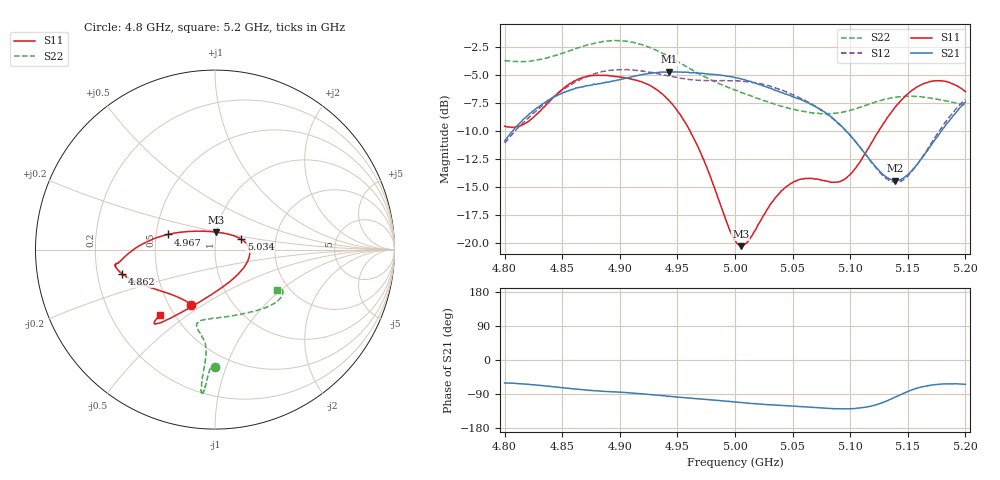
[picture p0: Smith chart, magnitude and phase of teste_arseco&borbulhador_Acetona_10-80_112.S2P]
! Network Analyzer HP8722D
! Hewlett-Packard
! Data name: Linha & Wilkinson
! Saver's name: Rodrigo Anjos
! Comments: Teste da utilização de aquisição
! continua pelo VNA HP8722D
! Time and date: 17/4/2025 15:17
!  Frequency  S11  S21  S12  S22
# HZ  S  MA R 50
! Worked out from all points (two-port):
!   401 points, 4.8 GHz to 5.2 GHz, reference 50 ohm
!   highest |S21| = -4.68 dB at 4.943 GHz (marker M1); lowest = -14.4 dB at 5.139 GHz (marker M2)
!   |S21| within 3 dB of the highest: 4.831 GHz to 5.068 GHz (236.4 MHz wide, 4.78 % of centre); 5.197182 GHz to end of sweep
!   lowest |S11| = -20.3 dB at 5.005 GHz (marker M3), VSWR 1.21, Z = 49.8 + j9.73 ohm
!   |S11| at or under -10 dB: 4.961 GHz to 5.125 GHz (163.4 MHz wide, 3.24 % of centre)
!   |S22| runs from -8.4 to -1.9 dB; largest |S21 - S12| = 0.88
!   S11 on the Smith chart (normalised r, x): 4.8 GHz: 0.65, -0.45; 4.862 GHz: 0.31, -0.12; 4.967 GHz: 0.58, +0.11; 5.034 GHz: 1.33, +0.16; 5.2 GHz: 0.42, -0.39
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4.8e9  0.3337 -113.1  0.2865 -60.7  0.2804 -174.8  0.6552 -89.9
4.819e9  0.3464 -133.0  0.3681 -63.9  0.3565 -173.4  0.6504 -91.5
4.862e9  0.5355 -165.4  0.4953 -76.7  0.5285 -176.4  0.742 -93.7
4.867e9  0.5481 -167.4  0.4999 -78.4  0.5431 -177.6  0.7553 -93.8
4.902e9  0.5508 -172.1  0.5419 -85.3  0.5954 175.3  0.8019 -95.3
4.934e9  0.4769 -177.9  0.5801 -93.4  0.5719 171.9  0.718 -95.7
4.943e9  0.4321 178.0  0.5836 -95.9  0.5585 172.0  0.6802 -95.5
4.967e9  0.2752 162.2  0.5747 -102.1  0.5347 174.0  0.5779 -94.9
5e9  0.103 102.9  0.5494 -111.0  0.5323 176.4  0.4835 -99.2
5.005e9  0.09706 85.7  0.5434 -112.2  0.5303 176.4  0.4723 -100.1
5.013e9  0.1048 59.7  0.529 -114.4  0.5245 176.0  0.4579 -101.8
5.034e9  0.1571 21.6  0.484 -119.0  0.4976 175.0  0.4192 -103.4
5.05e9  0.1866 5.4  0.4514 -121.7  0.4609 174.2  0.3981 -99.7
5.067e9  0.1949 -12.8  0.4156 -124.7  0.4177 173.8  0.3829 -90.8
5.086e9  0.1873 -42.8  0.3586 -128.5  0.3565 173.9  0.3805 -76.7
5.097e9  0.1959 -65.4  0.3147 -128.9  0.3152 174.7  0.3883 -67.5
5.134e9  0.3743 -116.0  0.1939 -105.1  0.1906 -158.0  0.4442 -42.9
5.139e9  0.4058 -118.9  0.1907 -98.1  0.1878 -150.2  0.4492 -40.8
5.152e9  0.4745 -124.4  0.2069 -80.7  0.2048 -130.0  0.4533 -36.0
5.17e9  0.5286 -128.5  0.2728 -66.4  0.2783 -112.5  0.4454 -31.8
5.184e9  0.5263 -129.9  0.3436 -63.0  0.3549 -107.2  0.4319 -30.9
5.2e9  0.4757 -130.3  0.4278 -64.2  0.4396 -106.2  0.4147 -33.2
